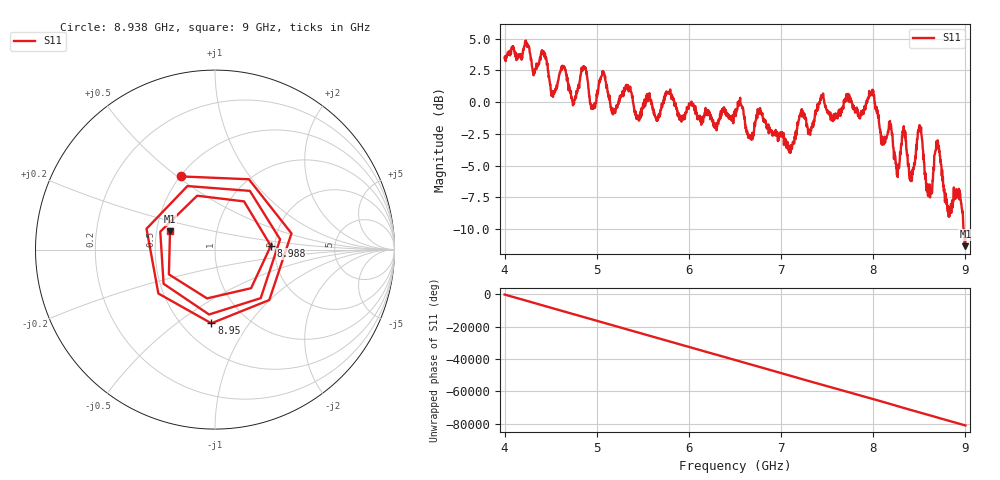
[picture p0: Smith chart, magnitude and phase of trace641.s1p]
! Created with skrf 1.8.0 (http://scikit-rf.org).
# Hz S RI R 50.0
!freq ReS11 ImS11
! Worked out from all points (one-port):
!   1601 points, 4 GHz to 9 GHz, reference 50 ohm
!   lowest |S11| = -11.4 dB at 9 GHz (marker M1), VSWR 1.74, Z = 29.4 + j6.45 ohm
!   |S11| at or under -10 dB: 8.981001 GHz to end of sweep
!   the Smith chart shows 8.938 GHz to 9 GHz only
!   S11 on the Smith chart (normalised r, x): 8.938 GHz: 0.51, +0.52; 8.95 GHz: 0.69, -0.68; 8.988 GHz: 1.90, +0.09; 9 GHz: 0.59, +0.13
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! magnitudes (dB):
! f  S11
! 4 GHz  3.5
! 4.419 GHz  3.9
! 4.528 GHz  0.8
! 4.625 GHz  2.7
! 4.747 GHz  -0.1
! 4.859 GHz  2.7
! 4.95 GHz  -0.3
! 5.066 GHz  2.2
! 5.175 GHz  -1.0
! 5.25 GHz  0.5
! 5.875 GHz  -0.7
! 6.5 GHz  -0.8
! 7.125 GHz  -3.3
! 7.222 GHz  -0.6
! 7.75 GHz  0.4
! 7.988 GHz  0.7
! 8.256 GHz  -5.7
! 8.331 GHz  -1.9
! 8.375 GHz  -4.9
! 8.422 GHz  -5.6
! 8.506 GHz  -2.0
! 8.6 GHz  -7.3
! 8.694 GHz  -3.3
! 8.812 GHz  -8.2
! 8.938 GHz  -7.0
! 8.95 GHz  -7.7
! 8.988 GHz  -10.1
! 9 GHz  -11.4
